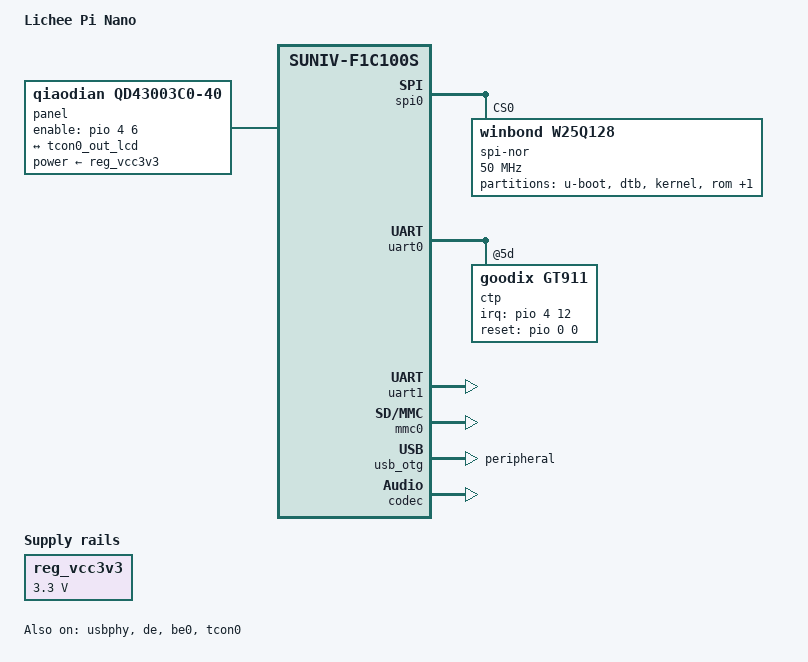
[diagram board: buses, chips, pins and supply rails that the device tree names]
// SPDX-License-Identifier: (GPL-2.0+ OR X11)
/*
 * Copyright 2021 Ninh Nguyen Nhut <nguyennhutninh@gmail.com>
 */

/dts-v1/;
#include "suniv-f1c100s.dtsi"
#include <dt-bindings/gpio/gpio.h>

/ {
	model = "Lichee Pi Nano";
	compatible = "licheepi,licheepi-nano", "allwinner,suniv-f1c100s";

	aliases {
		serial0 = &uart0;
	};

	chosen {
		stdout-path = "serial0:115200n8";
	};

	panel: panel {
		compatible = "qiaodian,qd43003c0-40", "simple-panel";
		#address-cells = <1>;
		#size-cells = <0>;
		enable-gpios = <&pio 4 6 GPIO_ACTIVE_HIGH>;
		power-supply = <&reg_vcc3v3>;

		port@0 {
			reg = <0>;
			#address-cells = <1>;
			#size-cells = <0>;

			panel_input: endpoint@0 {
				reg = <0>;
				remote-endpoint = <&tcon0_out_lcd>;
			};
		};
	};

	reg_vcc3v3: vcc3v3 {
		compatible = "regulator-fixed";
		regulator-name = "vcc3v3";
		regulator-min-microvolt = <3300000>;
		regulator-max-microvolt = <3300000>;
	};
};

&spi0 {
	status = "okay";

	spi-nor@0 {
		#address-cells = <1>;
		#size-cells = <1>;
		compatible = "winbond,w25q128", "jedec,spi-nor";
		reg = <0>;
		spi-max-frequency = <50000000>;

		partitions {
			compatible = "fixed-partitions";
			#address-cells = <1>;
			#size-cells = <1>;

			partition@0 {
				label = "u-boot";
				reg = <0x000000 0x70000>;
				read-only;
			};

			partition@1 {
				label = "dtb";
				reg = <0x70000 0x10000>;
				read-only;
			};

			partition@2 {
				label = "kernel";
				reg = <0x80000 0x580000>;
				read-only;
			};

			partition@3 {
				label = "rom";
				reg = <0x600000 0x700000>;
				read-only;
			};

			partition@4 {
				label = "overlay";
				reg = <0xd00000 0x300000>;
			};
		};
	};

	spi-nand@0 {
		#address-cells = <1>;
		#size-cells = <1>;
		compatible = "spi-nand";
		reg = <0>;
		spi-max-frequency = <50000000>;
		status = "disabled";

		partitions {
			compatible = "fixed-partitions";
			#address-cells = <1>;
			#size-cells = <1>;

			partition@0 {
				label = "u-boot";
				reg = <0x000000 0x80000>;
				read-only;
			};

			partition@1 {
				label = "dtb";
				reg = <0x80000 0x20000>;
				read-only;
			};

			partition@2 {
				label = "kernel";
				reg = <0x100000 0x700000>;
				read-only;
			};

			partition@3 {
				label = "rom";
				reg = <0x800000 0x4000000>;
				read-only;
			};

			partition@4 {
				label = "overlay";
				reg = <0x4800000 0x3000000>;
			};
		};
	};
};

&uart0 {
	pinctrl-names = "default";
	pinctrl-0 = <&uart0_pe_pins>;
	status = "okay";
};

&uart1 {
	pinctrl-names = "default";
	pinctrl-0 = <&uart1_pa_pins>;
	status = "okay";
};

&mmc0 {
	status = "okay";
	broken-cd;
};

&otg_sram {
	status = "okay";
};

&usb_otg {
	dr_mode = "peripheral"; /* host peripheral */
	status = "okay";
};

&usbphy {
	status = "okay";
};

&de {
	status = "okay";
};

&be0 {
	status = "okay";
};

&de {
	status = "okay";
};

&tcon0 {
	pinctrl-names = "default";
	pinctrl-0 = <&lcd_rgb666_pins>;
	status = "okay";
};

&tcon0_out {
	tcon0_out_lcd: endpoint@0 {
		reg = <0>;
		remote-endpoint = <&panel_input>;
	};
};

&codec {
	allwinner,audio-routing =
		"Headphone", "HP",
		"Headphone", "HPCOM",
		"LINEIN", "Line In",
		"FMINL", "Left FM In",
		"FMINR", "Right FM In",
		"MIC", "Mic";
	status = "okay";
};

&uart0 {
	pinctrl-names = "default";
	pinctrl-0 = <&uart0_pe_pins>;
	status = "okay";

	rtp@48 {
		compatible = "ti,tsc2007";
		reg = <0x48>;
		interrupt-parent = <&pio>;
		interrupts = <4 12 IRQ_TYPE_EDGE_FALLING>;
		gpios = <&pio 4 12 GPIO_ACTIVE_LOW>;
		pendown-gpio = <&pio 4 12 GPIO_ACTIVE_LOW>;
		ti,x-plate-ohms = <660>;
		wakeup-source;
		status = "disabled";
	};

	ctp@5d {
		compatible = "goodix,gt911";
		reg = <0x5d>;
		interrupt-parent = <&pio>;
		interrupts = <4 12 IRQ_TYPE_EDGE_FALLING>; // PE12
		irq-gpios = <&pio 4 12 GPIO_ACTIVE_HIGH>; // PE12
		reset-gpios = <&pio 0 0 GPIO_ACTIVE_HIGH>; // PA0
	};
};
